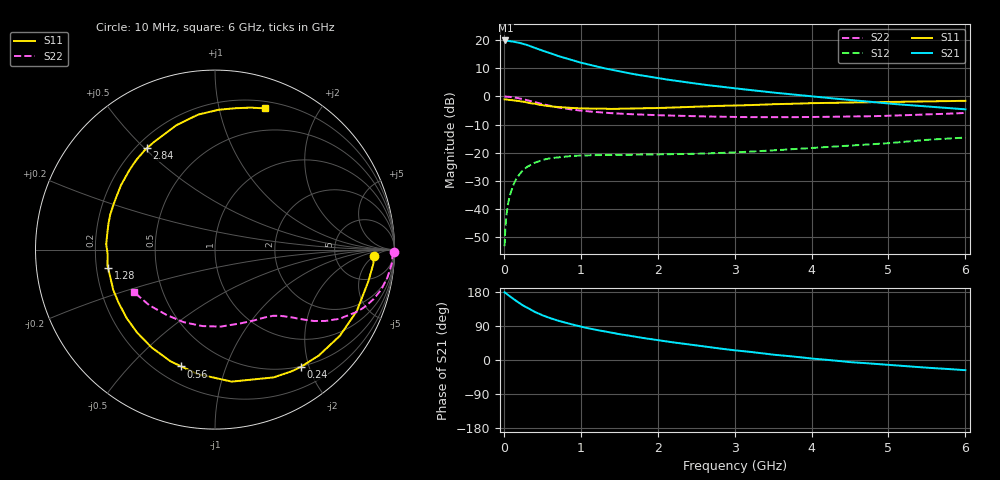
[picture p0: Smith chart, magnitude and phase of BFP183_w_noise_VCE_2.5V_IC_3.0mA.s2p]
! Infineon Technologies  Discrete & RF Semiconductors
! BFP183
! VCE = 2.5 V,  IC =  3.0 mA
! Common Emitter S-Parameters:  Jan 2016
# GHz  S  MA  R  50
!  f  S11  S21  S12  S22
! GHz  MAG  ANG  MAG  ANG  MAG  ANG  MAG  ANG
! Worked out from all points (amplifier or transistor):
!   210 points, 10 MHz to 6 GHz, reference 50 ohm
!   highest |S21| = 19.8 dB at 20 MHz (marker M1)
!   |S21| within 3 dB of that: start of sweep to 441.1 MHz
!   unconditionally stable (mu >= 1): 1.867 GHz to 5.837 GHz
!   at 185 MHz: K = 0.12, MSG = 23.7 dB, |S12| = -28.4 dB
!   at 1.52 GHz: K = 0.85, MSG = 14.8 dB, |S12| = -20.8 dB
!   at 6 GHz: K = 0.96, MSG = 5.0 dB, |S12| = -14.6 dB
!   lowest NFmin = 1.10 dB at 450 MHz
!   S11 on the Smith chart (normalised r, x): 10 MHz: 15, -5; 240 MHz: 0.49, -1.87; 560 MHz: 0.30, -0.71; 1.28 GHz: 0.25, -0.08; 2.84 GHz: 0.24, +0.51; 6 GHz: 0.27, +1.38
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0.01  0.8838 -2.3  9.768 178.7  0.0022 85.2  0.9967 -0.9
0.02  0.8864 -4.9  9.821 177.4  0.0046 89.5  0.9899 -1.9
0.06  0.8673 -14.0  9.635 170.8  0.0135 83.3  0.9841 -5.6
0.1  0.8611 -23.4  9.487 164.9  0.0217 77.0  0.9726 -9.3
0.15  0.8455 -34.6  9.224 157.5  0.0321 70.5  0.9518 -13.7
0.2  0.8263 -45.6  8.933 150.5  0.0408 66.3  0.9242 -17.5
0.24  0.8095 -53.9  8.619 145.2  0.0476 61.6  0.8979 -20.4
0.3  0.7832 -65.4  8.184 138.3  0.0557 56.0  0.8548 -24.3
0.4  0.7414 -82.8  7.307 127.2  0.0666 48.2  0.7913 -29.2
0.5  0.6996 -98.2  6.497 118.1  0.0742 41.7  0.7305 -33.0
0.56  0.6773 -106.1  6.112 113.8  0.0775 38.7  0.7001 -34.6
0.7  0.6497 -122.9  5.236 104.0  0.0827 32.8  0.6381 -37.8
0.78  0.6356 -131.1  4.861 99.4  0.0848 30.1  0.6127 -39.1
1.02  0.6119 -152.6  3.913 87.2  0.0892 24.7  0.5553 -42.4
1.28  0.6045 -170.5  3.214 76.6  0.0908 21.0  0.5167 -45.6
1.56  0.6063 174.0  2.687 66.4  0.0916 19.4  0.4895 -49.0
2.02  0.6225 152.3  2.09 51.9  0.0936 19.1  0.4628 -55.5
2.84  0.6806 123.9  1.478 29.5  0.0996 21.9  0.4349 -71.0
3.1  0.694 116.9  1.344 23.6  0.1029 23.0  0.4296 -76.7
4.1  0.7609 95.3  0.972 2.2  0.124 25.4  0.4314 -102.1
5.1  0.7992 80.5  0.728 -14.3  0.1521 24.9  0.4565 -129.4
6  0.834 70.6  0.589 -26.9  0.186 18.9  0.509 -152.1
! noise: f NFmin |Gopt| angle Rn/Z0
0.45  1.1  0.37  35  0.3
0.9  1.15  0.34  85  0.23
1.8  1.9  0.35  160  0.13
